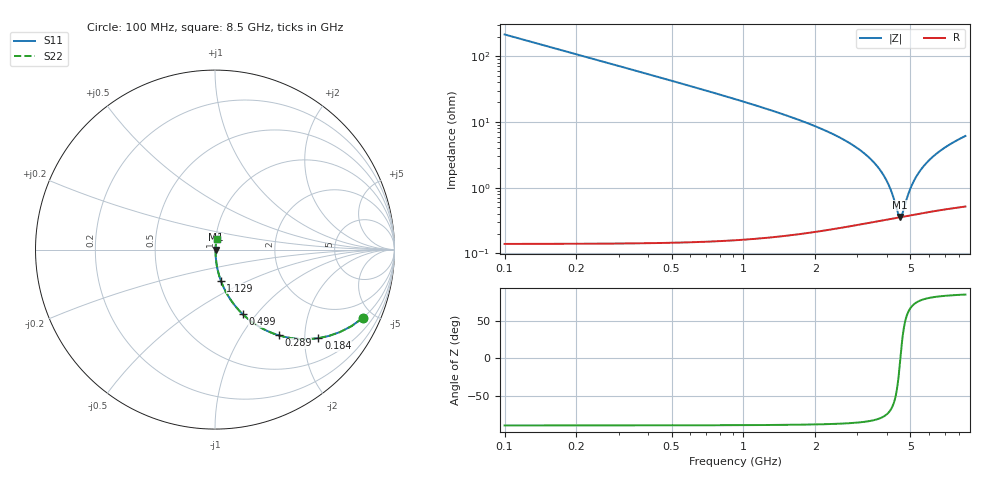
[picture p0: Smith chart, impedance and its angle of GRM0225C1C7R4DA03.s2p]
!Murata Part Number: GRM0225C1C7R4DA03
!These Parameters are Measured in Series Mode Connection
!Data Generated on Mar 30, 2021
!  o--ll--o
!Port1  Port2
!  o------o
!Operation Temp=25[degC], DC Bias Voltage=0[V]
!Freq. Start=100[MHz] Stop=9[GHz] 401[Steps]
# Hz S RI R 50
!Freq.(Hz) S11(Real) S11(Imag) S21(Real) S21(Imag) S12(Real) S12(Imag) S22(Real) S22(Imag)
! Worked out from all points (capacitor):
!   401 points, 100 MHz to 8.5 GHz, reference 50 ohm
!   read as one part in series: C = 7.4 pF near 142 MHz
!   lowest |Z| = 357 mohm at 4.531 GHz (marker M1)
!   series resonance near 4.542 GHz, so ESL is about 170 pH
!   S11 on the Smith chart (normalised r, x): 100 MHz: 1.00, -4.30; 184 MHz: 1.00, -2.33; 289 MHz: 1.00, -1.48; 499 MHz: 1.00, -0.85; 1.129 GHz: 1.00, -0.36; 8.5 GHz: 1.01, +0.12
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1e8  0.8219 -0.3822  0.1781 0.3822  0.1781 0.3822  0.8219 -0.3822
1.84e8  0.5765 -0.4935  0.4235 0.4935  0.4235 0.4935  0.5765 -0.4935
2.89e8  0.3548 -0.4775  0.6452 0.4775  0.6452 0.4775  0.3548 -0.4775
3.73e8  0.2474 -0.4303  0.7526 0.4303  0.7526 0.4303  0.2474 -0.4303
4.99e8  0.1542 -0.3594  0.8458 0.3594  0.8458 0.3594  0.1542 -0.3594
7.51e8  0.073 -0.2575  0.927 0.2575  0.927 0.2575  0.073 -0.2575
1.129e9  0.0323 -0.1722  0.9677 0.1722  0.9677 0.1722  0.0323 -0.1722
1.507e9  0.0175 -0.124  0.9825 0.124  0.9825 0.124  0.0175 -0.124
2.914e9  0.00447 -0.0426  0.9955 0.0426  0.9955 0.0426  0.00447 -0.0426
3.397e9  0.00367 -0.0273  0.9963 0.0273  0.9963 0.0273  0.00367 -0.0273
3.775e9  0.00344 -0.0172  0.9966 0.0172  0.9966 0.0172  0.00344 -0.0172
4.069e9  0.00341 -0.0102  0.9966 0.0102  0.9966 0.0102  0.00341 -0.0102
4.3e9  0.00345 -0.00505  0.9965 0.00505  0.9965 0.00505  0.00345 -0.00505
4.447e9  0.00351 -0.00194  0.9965 0.00194  0.9965 0.00194  0.00351 -0.00194
4.531e9  0.00355 -0.000219  0.9965 0.000219  0.9965 0.000219  0.00355 -0.000219
4.615e9  0.00359 0.00147  0.9964 -0.00147  0.9964 -0.00147  0.00359 0.00147
4.888e9  0.00378 0.00676  0.9962 -0.00676  0.9962 -0.00676  0.00378 0.00676
5.098e9  0.00395 0.0106  0.9961 -0.0106  0.9961 -0.0106  0.00395 0.0106
5.707e9  0.00457 0.0211  0.9954 -0.0211  0.9954 -0.0211  0.00457 0.0211
6.316e9  0.00532 0.0306  0.9947 -0.0306  0.9947 -0.0306  0.00532 0.0306
7.114e9  0.00647 0.0421  0.9935 -0.0421  0.9935 -0.0421  0.00647 0.0421
8.5e9  0.00879 0.0602  0.9912 -0.0602  0.9912 -0.0602  0.00879 0.0602
